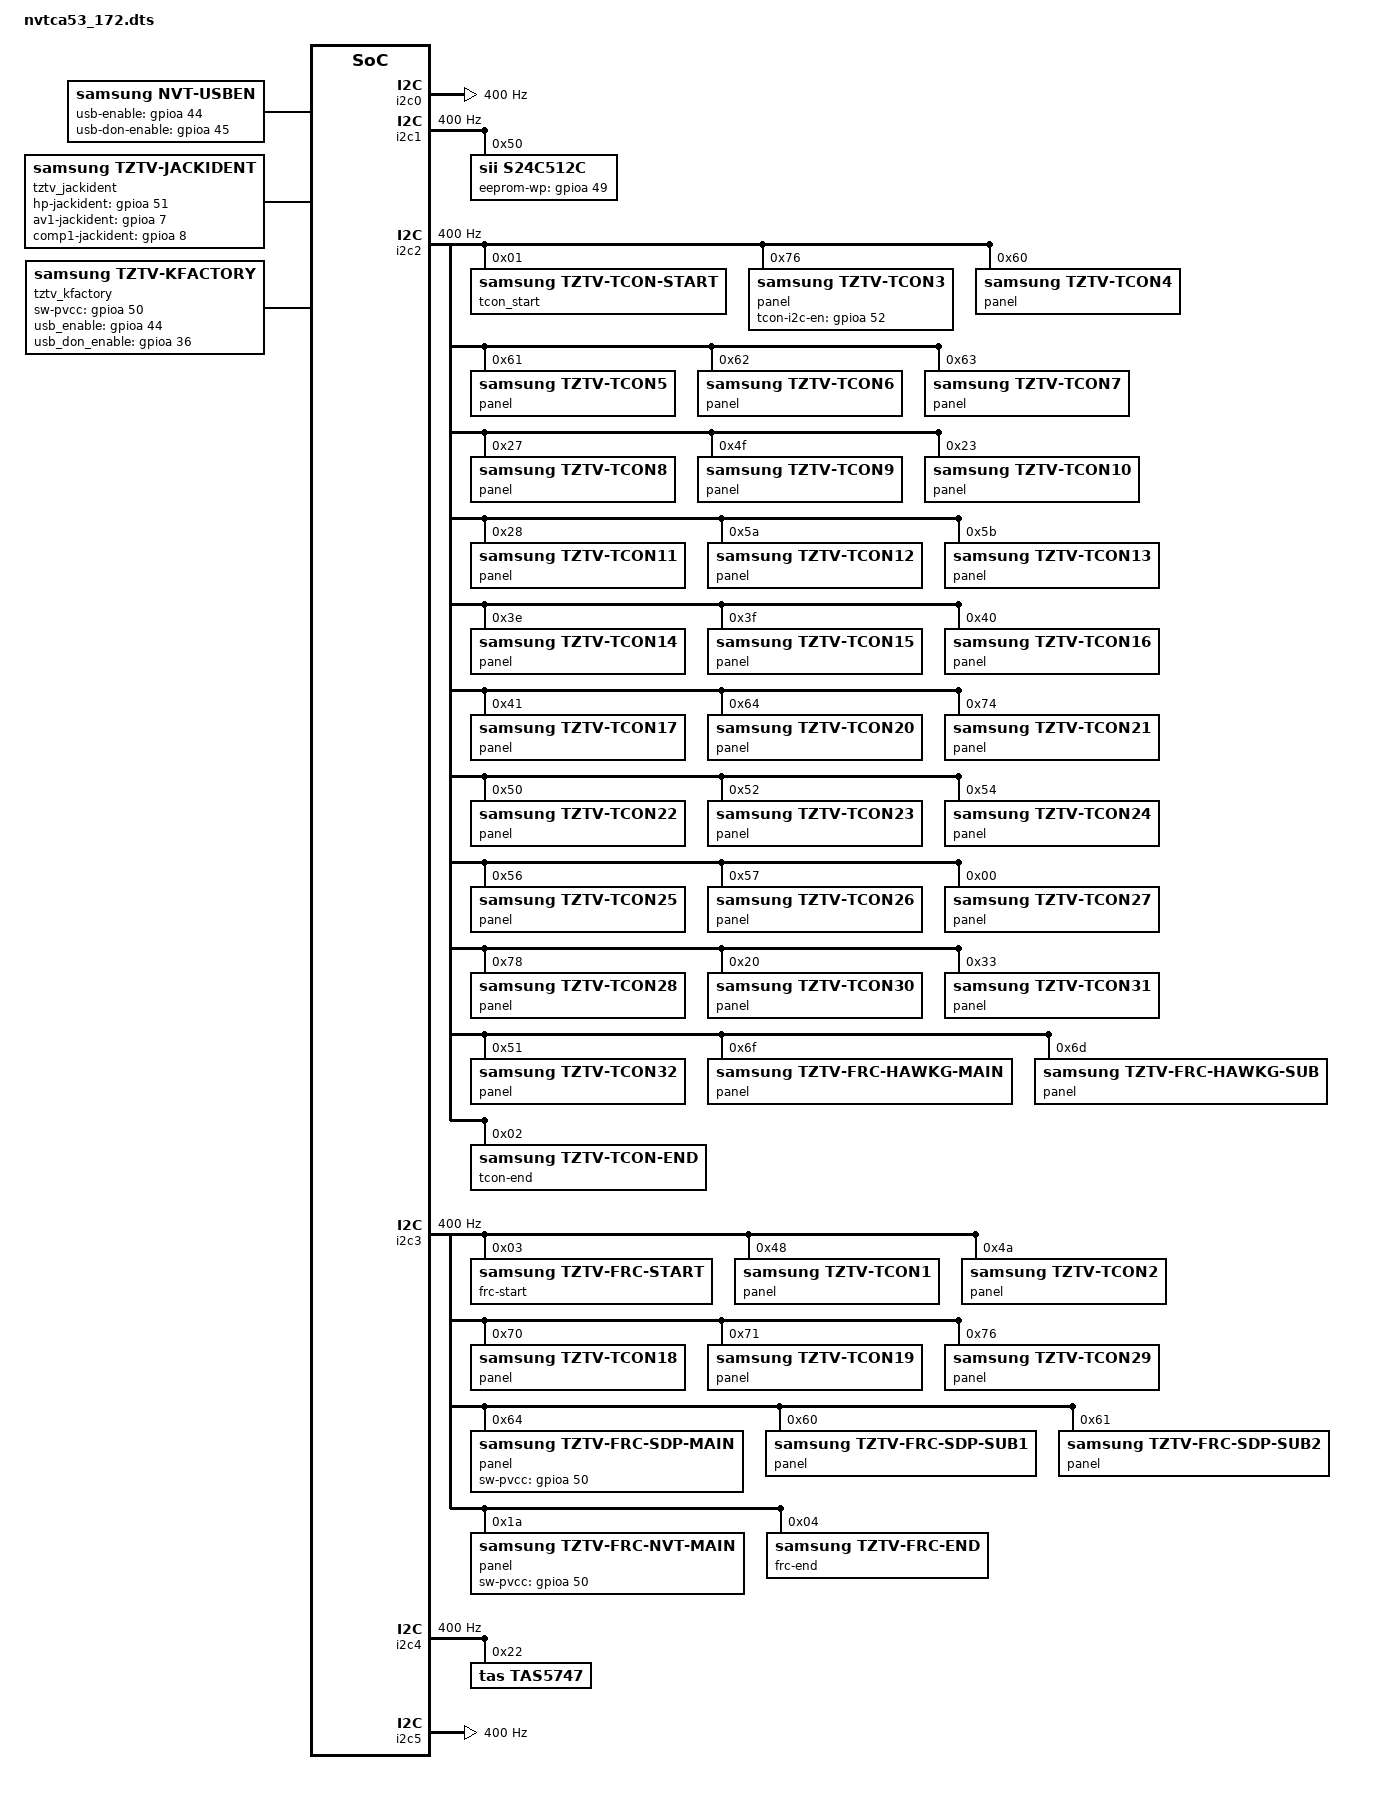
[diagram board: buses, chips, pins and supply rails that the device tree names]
/*
 * Novatek Ltd. 72658
 *
 * Cortex-A53 MPCore
 *
 */

/dts-v1/;
#include "nvtca53_172.dtsi"
#include "nvtca53_bsp.dtsi"

/ {
	chosen {
		bootargs = __STR__(console=ttyS0,115200 earlyprintk maxcpus=4 no_console_suspend root=/dev/mmcblk0p18 KDUMP=16 SELP_PARAM _nvtca9-16m rootfstype=vdfs RO_PARAM init=/sbin/init mem=768M@48M mem=400M@2048M coherent_pool=1M vmalloc=300M rootwait ROOT_PARAM QUIET_PARAM TRACING_PARAM DO_NOT_TOUCH___RESERVED_SPACE_50b);

		boot-modes = <&shift_s_mode>, <&normal_trace_mode>, <&shift_s_trace_mode>;
	};

	ntkaxis {
		interrupts = <0x0 0x50 0x4>;
	};

	axi_slv_intr_1 {
		interrupts = <0 81 4>;
	};

	AUD_TOP_DI{
		interrupts = <0x0 0x2 0x4>;
	};

	AUD_TOP_DO{
		interrupts = <0x0 0x0 0x4>;
	};

	AUD_KRU_0{
		interrupts = <0x0 0x1a 0x4>;
	};

	AUD_KRU_1{
		interrupts = <0x0 0x1b 0x4>;
	};

	AUD_HDMI_0{
		interrupts = <0x0 0xb 0x4>;
	};

	AUD_HDMI_1{
		interrupts = <0x0 0xc 0x4>;
	};

	CI_IRQ{
		interrupts = <0x0 0x46 0x4>;
	};

	CRYPTO_IRQ{
		interrupts = <0x0 0x14 0x4>;
	};

	NT.MPEG2IP.MAIN{
		interrupts = <0 13 1>;
	};

	NT.MPEG2IP.SUB {
		interrupts = <0 14 1>;
	};

	NT.FRE{
		interrupts = <0 104 1>;
	};

	ntkdispage{
		interrupts = <0x0 0x75 0x4>;
	};

	ntkgpu{
		interrupts = <0x0 0xf 0x4>;
	};

	ntkhdma{
		interrupts = <0x0 0x3e 0x4>;
	};

	ntkxdma{
		interrupts = <0x0 0x4e 0x4>;
	};

	ntk_serial{
		interrupts = <0x0 0x2D 0x4>;
	};

	NTBLAST{
		interrupts = <0x0 0x48 0x4>;
	};

	NTCEC{
		interrupts = <0x0 0x49 0x4>;
	};

	NTIPC{
		interrupts = <0x0 0x32 0x4>;
	};

	PSBM{
		interrupts = <0x0 0x73 0x4>;
	};

	TVENC{
		interrupts = <0x0 0x4 0x4>;
	};

	IMVQ0{
		interrupts = <0x0 0x5 0x4>;
	};
	IMVQ1 {
		interrupts = <0 71 4>;
	};
	DpVsync{
		interrupts = <0x0 0x17 0x4>;
	};

	Plane1-OsdVsync{
		interrupts = <0x0 0xb 0x4>;
	};

	Plane2-OsdVsync{
		interrupts = <0x0 0xc 0x4>;
	};

	Plane3-OsdVsync{
		interrupts = <0x0 0xd 0x4>;
	};

	TconLed{
		interrupts = <0x0 0xa 0x4>;
	};

	Ip0Vsync{
		interrupts = <0x0 0x9 0x4>;
	};
    
	Ip1Vsync{
		interrupts = <0x0 0x1c 0x4>;
	};

	LbmNLine{
		interrupts = <0x0 0x16 0x4>;
	};

	SubDpVsync{
		interrupts = <0x0 0x15 0x4>;
	};

	PQHLine{
		interrupts = <0x0 0x30 0x4>;
	};

	imvq-venc-h264{
		interrupts = <0x0 0x76 0x4>;
	};

	imvq-venc-jpeg{
		interrupts = <0x0 0x79 0x4>;
	};

	NTIRQ_TSMUX{
		interrupts = <0x0 0x67 0x4>;
	};

	NTHDMI_A{
		interrupts = <0x0 0x3a 0x4>;
	};

    NTHDMI_B {
        interrupts = <0x0 0x3b 0x4>;
    };
    NTHDMI_C {
        interrupts = <0x0 0x3c 0x4>;
    };
	NTHDMI_D {
		interrupts = <0 61 4>;
	};
    axi.hdmi.0{
        interrupts = <0x0 0xb 0x4>;
    };
    axi.hdmi.1{
        interrupts = <0x0 0xc 0x4>;
    };
	NTMHL_CBUS{
		interrupts = <0x0 0x8 0x4>;
	};

	Mali_GP{
		interrupts = <0x0 0x20 0x4>;
	};

	Mali_GP_MMU{
		interrupts = <0x0 0x21 0x4>;
	};

	Mali_PP0{
		interrupts = <0x0 0x22 0x4>;
	};

	Mali_PP0_MMU{
		interrupts = <0x0 0x23 0x4>;
	};

	Mali_PP1{
		interrupts = <0x0 0x24 0x4>;
	};

	Mali_PP1_MMU{
		interrupts = <0x0 0x25 0x4>;
	};

	Mali_PP2{
		interrupts = <0x0 0x26 0x4>;
	};

	Mali_PP2_MMU{
		interrupts = <0x0 0x27 0x4>;
	};

	Mali_PP3{
		interrupts = <0x0 0x28 0x4>;
	};

	Mali_PP3_MMU{
		interrupts = <0x0 0x29 0x4>;
	};

	TSP_IRQ{
		interrupts = <0x0 0x7 0x4>;
	};

	DEMUX_IRQ{
		interrupts = <0x0 0x3 0x4>;
	};

	NT_CPE{
		interrupts = <0x0 0x1 0x4>;
	};

	PostDpVsync {
		interrupts = <0 24 4>;
	};

	PQ_FRC {
		interrupts = <0 83 4>;
	};

	gpioa: gpio@fd0f0000 {
		compatible = "nvt,nt726xx-gpio";
		reg = <0xfd0f0000 0x18>,
		<0xfd0f0200 0x18>,
		<0xfd100000 0x18>,
		<0xfd110000 0x18>,
		<0xfd110200 0x18>;
		nvt,hwmods = "gpioa";
		nvt,gpio-always-on;
		gpio-controller;
		#gpio-cells = <2>;
		};

  i2c0: i2c@fd000000 {
    compatible = "nvt,nt726xx_i2c.0";
    nvt,hwmods = "i2c0";
    reg = <0xfd000000 0x100>;
    interrupts = <0x0 0x43 0x4>;
    clock-frequency = <400>;
    #address-cells = <1>;
    #size-cells = <0>;
  };

  i2c1: i2c@fd000100 {
    compatible = "nvt,nt726xx_i2c.1";
    nvt,hwmods = "i2c1";
    reg = <0xfd000100 0x100>;
    interrupts = <0x0 0x43 0x4>;
    clock-frequency = <400>;
    #address-cells = <1>;
    #size-cells = <0>;
        s24c512c@50 {
                compatible = "sii,s24c512c";
                reg = <0x50>;
                samsung,eeprom-wp = <&gpioa 49 0>;
        };
  };

  i2c2: i2c@fd000200 {
    compatible = "nvt,nt726xx_i2c.2";
    nvt,hwmods = "i2c2";
    reg = <0xfd000200 0x100>;
    interrupts = <0x0 0x43 0x4>;
    clock-frequency = <400>;
    #address-cells = <1>;
    #size-cells = <0>;
	
	tcon_start@01 {
			compatible = "samsung,tztv-tcon-start";
			/* don't use reg bellow */
			/* dummy reg : 0x01, 0x02, 0x03, 0x04 */
			reg = <0x01>;
		};	
		
    /* panel 0xEC */
	panel@76 {
		compatible = "samsung,tztv-tcon3";
		reg = <0x76>;
		samsung,tcon-i2c-en = <&gpioa 52 0>;
	};

	/* panel 0xC0 */
	panel@60 {
		compatible = "samsung,tztv-tcon4";
		reg = <0x60>;
	};

	/* panel 0xC2 */
	panel@61 {
		compatible = "samsung,tztv-tcon5";
		reg = <0x61>;
	};

	/* panel 0xC4 */
	panel@62 {
		compatible = "samsung,tztv-tcon6";
		reg = <0x62>;
	};

	/* panel 0xC6 */
	panel@63 {
		compatible = "samsung,tztv-tcon7";
		reg = <0x63>;
	};

	/* panel 0x4E */
	panel@27 {
		compatible = "samsung,tztv-tcon8";
		reg = <0x27>;
	};

	/* panel 0x9E */
	panel@4F {
		compatible = "samsung,tztv-tcon9";
		reg = <0x4F>;
	};

	/* panel 0x46 */
	panel@23 {
		compatible = "samsung,tztv-tcon10";
		reg = <0x23>;
	};

	/* panel 0x50 */
	panel@28 {
		compatible = "samsung,tztv-tcon11";
		reg = <0x28>;
	};

	/* panel 0xB4 */
	panel@5A {
		compatible = "samsung,tztv-tcon12";
		reg = <0x5A>;
	};

	/* panel 0xB6 */
	panel@5B {
		compatible = "samsung,tztv-tcon13";
		reg = <0x5B>;
	};

	/* panel 0x7C */
	panel@3E {
		compatible = "samsung,tztv-tcon14";
		reg = <0x3E>;
	};

	/* panel 0x7E */
	panel@3F {
		compatible = "samsung,tztv-tcon15";
		reg = <0x3F>;
	};

	/* panel 0x80 */
	panel@40 {
		compatible = "samsung,tztv-tcon16";
		reg = <0x40>;
	};

	/* panel 0x82 */
	panel@41 {
		compatible = "samsung,tztv-tcon17";
		reg = <0x41>;
	};

	/* panel 0xC8 */
	panel@64 {
		compatible = "samsung,tztv-tcon20";
		reg = <0x64>;
	};

	/* panel 0xE8 */
	panel@74 {
		compatible = "samsung,tztv-tcon21";
		reg = <0x74>;
	};

	/* panel 0xA0 */
	panel@50 {
		compatible = "samsung,tztv-tcon22";
		reg = <0x50>;
	};

	/* panel 0xA4 */
	panel@52 {
		compatible = "samsung,tztv-tcon23";
		reg = <0x52>;
	};

	/* panel 0xA8 */
	panel@54 {
		compatible = "samsung,tztv-tcon24";
		reg = <0x54>;
	};

	/* panel 0xAC */
	panel@56 {
		compatible = "samsung,tztv-tcon25";
		reg = <0x56>;
	};

	/* panel 0xAE */
	panel@57 {
		compatible = "samsung,tztv-tcon26";
		reg = <0x57>;
	};

	/* panel 0x00 */
	panel@00 {
		compatible = "samsung,tztv-tcon27";
		reg = <0x00>;
	};

	/* panel 0xF0 */
	panel@78 {
		compatible = "samsung,tztv-tcon28";
		reg = <0x78>;
	};

	/* panel 0x40 */
	panel@20 {
		compatible = "samsung,tztv-tcon30";
		reg = <0x20>;
	};

	/* panel 0x66 */
	panel@33 {
		compatible = "samsung,tztv-tcon31";
		reg = <0x33>;
	};

	/* panel 0xA2 */
		panel@51 {
			compatible = "samsung,tztv-tcon32";
			reg = <0x51>;
		};

	/* panel 0xDE */
	panel@6F {
		compatible = "samsung,tztv-frc-hawkg-main";
		reg = <0x6F>;
	};

	/* panel 0xDA */
	panel@6D {
		compatible = "samsung,tztv-frc-hawkg-sub";
		reg = <0x6D>;
	};
	
	tcon-end@02 {
			compatible = "samsung,tztv-tcon-end";
			/* don't use reg bellow */
			/* dummy reg : 0x01, 0x02, 0x03, 0x04 */
			reg = <0x02>;
		};

  };

  i2c3: i2c@fd000300 {
    compatible = "nvt,nt726xx_i2c.3";
    nvt,hwmods = "i2c3";
    reg = <0xfd000300 0x100>;
    interrupts = <0x0 0x43 0x4>;
    clock-frequency = <400>;
    #address-cells = <1>;
    #size-cells = <0>;
	
	frc-start@03 {
			compatible = "samsung,tztv-frc-start";
			/* don't use reg bellow */
			/* dummy reg : 0x01, 0x02, 0x03, 0x04 */
			reg = <0x03>;
		};
			
    /* panel 0x90 */
	panel@48 {
		compatible = "samsung,tztv-tcon1";
		reg = <0x48>;
	};

	/* panel 0x94 */
	panel@4A {
		compatible = "samsung,tztv-tcon2";
		reg = <0x4A>;
	};

	/* panel 0xE0 */
	panel@70 {
		compatible = "samsung,tztv-tcon18";
		reg = <0x70>;
	};

	/* panel 0xE2 */
	panel@71 {
		compatible = "samsung,tztv-tcon19";
		reg = <0x71>;
	};

	/* panel 0xEC DUAL */
	panel@76 {
		compatible = "samsung,tztv-tcon29";
		reg = <0x76>;
	};

	/* panel C8 */
	panel@64 {
		compatible = "samsung,tztv-frc-sdp-main";
		reg = <0x64>;
		samsung,sw-pvcc = <&gpioa 50 0>;
	};

	/* panel C0 SUB */
	panel@60 {
		compatible = "samsung,tztv-frc-sdp-sub1";
		reg = <0x60>;
	};

	/* panel C2 SUB */
	panel@61 {
		compatible = "samsung,tztv-frc-sdp-sub2";
		 reg = <0x61>;
	};

	/* panel 34 */
	panel@1A {
		compatible = "samsung,tztv-frc-nvt-main";
		 reg = <0x1A>;
		 samsung,sw-pvcc = <&gpioa 50 0>;
	};
	
	frc-end@04 {
			compatible = "samsung,tztv-frc-end";
			/* don't use reg bellow */
			/* dummy reg : 0x01, 0x02, 0x03, 0x04 */
			reg = <0x04>;
		};
	
  };
  
  i2c4: i2c@fd000400 {
    compatible = "nvt,nt726xx_i2c.4";
    nvt,hwmods = "i2c4";
    reg = <0xfd000400 0x100>;
    interrupts = <0x0 0x43 0x4>;
    clock-frequency = <400>;
    #address-cells = <1>;
    #size-cells = <0>;
	tas5747@22 {
			compatible = "tas,tas5747";
			reg = <0x22>;
			amp_nt16_m
			{
				amp_tw_bus = <4>;
				amp_tw_slave_addr = <0x44>;
				amp_wf_bus = <4>;
				amp_wf_slave_addr = <0x46>;
				amp_bt_bus = <0>;
				amp_bt_slave_addr = <0>;
				amp_tp_bus = <0>;
				amp_tp_slave_addr = <0>;
			};
	};
  };

  i2c5: i2c@fd000500 {
    compatible = "nvt,nt726xx_i2c.5";
    nvt,hwmods = "i2c5";
    reg = <0xfd000500 0x100>;
    interrupts = <0x0 0x43 0x4>;
    clock-frequency = <400>;
    #address-cells = <1>;
    #size-cells = <0>;
  };
	
	
	usben {
                 compatible = "samsung,nvt-usben";
                 status = "okay";
                 samsung,usb-enable = <&gpioa 44 0>;
                 samsung,usb-don-enable = <&gpioa 45 0>;
         };
		 
	tztv_tuner {
		compatible = "samsung,tztv-tuner";
		tuner-list-atsc = <&tuner_list_atsc>;
		tuner-list-dvb = <&tuner_list_dvb>;
		tuner-list-isdb = <&tuner_list_isdb>;
		tuner-list-ew = <&tuner_list_ew>;
		tuner-list-cn = <&tuner_list_cn>;
		
		tuner_i2c_bus = <0>;
		tuner_reset_gpio = <0x0c06>;
		lnb_slave_addr = <0x10>;
		
		tuner_list_atsc:tuner-list-atsc {};
		tuner_list_dvb:tuner-list-dvb {};
		tuner_list_isdb:tuner-list-isdb {};
		tuner_list_ew:tuner-list-ew {};
		tuner_list_cn:tuner-list-cn {};
	};

	tztv_jackident {
		compatible = "samsung,tztv-jackident";
		samsung,hp-jackident = <&gpioa 51 0>;
		samsung,av1-jackident = <&gpioa 7  0>;
		samsung,comp1-jackident = <&gpioa 8 0>;
	};

	tztv_kfactory {
		compatible = "samsung,tztv-kfactory";
		samsung,sw-pvcc = <&gpioa 50 0>;
		samsung,usb_enable = <&gpioa 44 0>;
		samsung,usb_don_enable = <&gpioa 36 0>;
	};

	tztv_bootmode@B {
		compatible = "tztv-bootmode";
		reg = <0xB>;
		communication-mode = "reg";
		ew-select = <0xfc040124>;
	};

	tztv-micom {
		compatible = "samsung,uart-micom";
		status = "okay";
	};

	memory_tbl {
		#region-cells = <0x2>;
		secure_os {	region = <0x00000000 0x2500000>;	protect = "enable";	cma = "disable";};
		vbi {		region = <0x02500000 0x40000>;	protect = "disable";	cma = "disable";};
		encrypt {	region = <0x02540000 0x40000>;	protect = "enable";	cma = "disable";};
		isdb_buffer { region = <0x02580000 0x700000>;	protect = "enable";	cma = "disable";};
		encoder_n{	region = <0x02C80000 0x100000>;	protect = "disable";	cma = "disable";};
		encoder_s{	region = <0x02D80000 0x280000>;	protect = "disable";	cma = "disable";};
		kernel_part1 {region = <0x03000000 0x31F00000>;	protect = "enable";	cma = "disable";};
		va {		region = <0x34F00000 0x200000>;	protect = "disable";	cma = "disable";};
		demux {		region = <0x35100000 0x1F00000>;	protect = "enable";	cma = "disable";};
		sbm {		region = <0x35100000 0x1F00000>;	protect = "enable";	cma = "disable";};
		sw_decoder {region = <0x37000000 0x1200000>;	protect = "enable";	cma = "disable";};
		dtv {		region = <0x38200000 0x3F00000>;	protect = "enable";	cma = "disable";};
		osd {		region = <0x3D600000 0x2A00000>;	protect = "disable";	cma = "disable";};
		kernel_part2 {region = <0x80000000 0x19000000>;	protect = "enable";	cma = "disable";};	
		atv {		region = <0x99000000 0x5480000>;	protect = "enable";	cma = "disable";};		
		aud {		region = <0x9E480000 0x800000>;	protect = "enable";	cma = "disable";};
		dsp {		region = <0x9ED80000 0xC00000>;	protect = "enable";	cma = "disable";};
		dtv_aud {	region = <0x9FA00000 0x100000>;	protect = "enable";	cma = "disable";};
		mm_aud {	region = <0x9FB00000 0x280000>;	protect = "enable";	cma = "disable";};
		pq_frc {	region = <0x9FD80000 0x200000>;	protect = "enable";	cma = "disable";};
		emegerency_buffer {region = <0x9FF80000 0x80000>;	protect = "enable";	cma = "disable";};
	};

	aud_config_tbl {
		/*memory correlation*/
		echo_on              { u32ConfVal = <0>;         };     /*VA_DTB_NODE_NAME_ECHO_ON*/
		sup_dual_uniplayer   { u32ConfVal = <0>;         };     /*VA_DTB_NODE_NAME_SUP_DUAL_UNIPLAYER*/
		virt_opu_num         { u32ConfVal = <5>;         };     /*VA_DTB_NODE_NAME_VIRT_OPU_NUM*/
		sup_multi_ch         { u32ConfVal = <2>;         };     /*VA_DTB_NODE_NAME_SUP_MULTI_CH*/ /*(0:VA_MULTI_CH_NONE, 1:VA_MULTI_CH_MS11, 2:VA_MULTI_CH_MS12)*/
		sup_enc_effect_snd   { u32ConfVal = <1>;         };     /*VA_DTB_NODE_NAME_SP_ENC_EFFECT_SND*/
		/*ipuaxi_bufsizex2   { u32ConfVal = <0>;         };*/   /*VA_DTB_NODE_NAME_IPUAXI_BUFSIZEX2*/
		sup_capture          { u32ConfVal = <1>;         };     /*VA_DTB_NODE_NAME_SP_CAPTURE*/

		/*funtion config correlation*/
		/*fastboot           { u32ConfVal = <1>;         };*/   /*VA_DTB_NODE_NAME_FASTBOOT*/
		/*multi_stc          { u32ConfVal = <1>;         };*/   /*VA_DTB_NODE_NAME_MULTI_STC*/
		/*dual_dtv           { u32ConfVal = <1>;         };*/   /*VA_DTB_NODE_NAME_DUAL_DTV*/
		/*pre_pp             { u32ConfVal = <1>;         };*/   /*VA_DTB_NODE_NAME_PRE_PP*/
		/*sup_dsp_monitor    { u32ConfVal = <1>;         };*/   /*VA_DTB_NODE_NAME_SP_DSP_MONITOR*/
		/*sup_asbm           { u32ConfVal = <1>;         };*/   /*VA_DTB_NODE_NAME_SP_ASBM*/
		/*spdif_autoswitch   { u32ConfVal = <0>;         };*/   /*VA_DTB_NODE_NAME_SPDIF_AUTOSWITCH*/
		/*tsunami_mode       { u32ConfVal = <1>;         };*/   /*VA_DTB_NODE_NAME_TSUNAMI_MODE*/

		/*value setting correlation*/
		/*adc_setting        { u32ConfVal = <3>;         };*/   /*VA_DTB_NODE_NAME_ADC_SETTING*/
		/*dac_setting        { u32ConfVal = <2>;         };*/   /*VA_DTB_NODE_NAME_DAC_SETTING*/
		/*dac1_mode_sel      { u32ConfVal = <0>;         };*/   /*VA_DTB_NODE_NAME_DAC1_MODE_SELECT*/ /*(0:VA_128FS, 1:VA_256FS)*/
		/*dac2_mode_sel      { u32ConfVal = <0>;         };*/   /*VA_DTB_NODE_NAME_DAC2_MODE_SELECT*/ /*(0:VA_128FS, 1:VA_256FS)*/

		/*alsa fake card*/
		/*fake_card0         { u32ConfVal = <0xFFFFFFFF>;};*/   /*VA_DTB_NODE_NAME_FAKE_CARD0*/
		/*fake_card1         { u32ConfVal = <0xFFFFFFFF>;};*/   /*VA_DTB_NODE_NAME_FAKE_CARD1*/
		/*fake_card2         { u32ConfVal = <0xFFFFFFFF>;};*/   /*VA_DTB_NODE_NAME_FAKE_CARD2*/

		project_info{ ac8Project = "Tizen3"; ac8IC = "NT72172"; ac8Version = "AUD_CONF_0.0.001"; ac8Date = "20160831"; };
	};

	demux_tbl {
		Video_0                           {region = <0x00000000 0x00800000>;};
		Video_1                           {region = <0x00800000 0x00800000>;};
		Audio_0                           {region = <0x01000000 0x00040000>;};
		Audio_1                           {region = <0x01040000 0x00040000>;};
		Audio_2                           {region = <0x01080000 0x00040000>;};
		Audio_3                           {region = <0x010C0000 0x00040000>;};
		Others                           {region = <0x01100000 0x00300000>;};
		PVR_0_Record                {region = <0x01400000 0x00600000>;};
		PVR_0_Playback             {region = <0x01A00000 0x00500000>;};
    };
	va_tbl {
		va_0 {region = <0x00000000 0x100000>;};
		va_1 {region = <0x00100000 0x100000>;};
	};
	dtv_tbl {
		dtv_0 {region = <0x00000000 0xA580000>;};
	};
	extra_tbl {
		dtv_0 {region = <0xA580000 0x3200000>;};
	};
};
